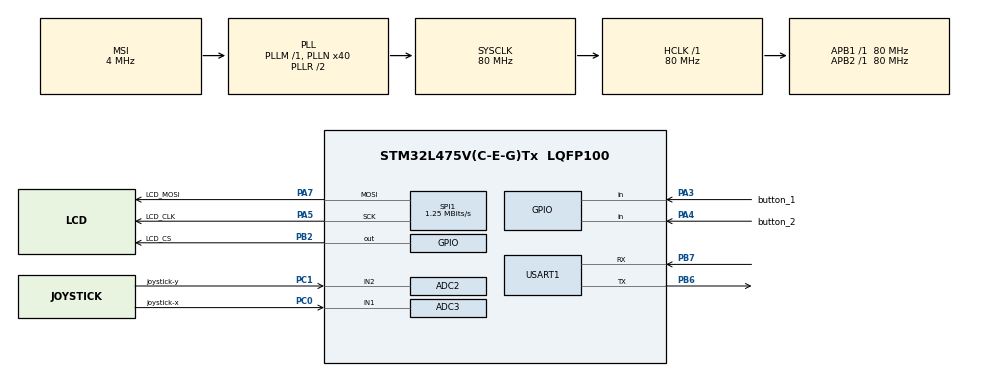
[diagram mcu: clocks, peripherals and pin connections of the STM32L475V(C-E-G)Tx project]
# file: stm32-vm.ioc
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ADC2.Channel-1\#ChannelRegularConversion=ADC_CHANNEL_2
ADC2.NbrOfConversionFlag=1
ADC2.OffsetNumber-1\#ChannelRegularConversion=ADC_OFFSET_NONE
ADC2.Rank-1\#ChannelRegularConversion=1
ADC2.SamplingTime-1\#ChannelRegularConversion=ADC_SAMPLETIME_2CYCLES_5
ADC3.Channel-1\#ChannelRegularConversion=ADC_CHANNEL_1
ADC3.NbrOfConversionFlag=1
ADC3.OffsetNumber-1\#ChannelRegularConversion=ADC_OFFSET_NONE
ADC3.Rank-1\#ChannelRegularConversion=1
ADC3.SamplingTime-1\#ChannelRegularConversion=ADC_SAMPLETIME_2CYCLES_5
Mcu.Family=STM32L4
Mcu.Name=STM32L475V(C-E-G)Tx
Mcu.Package=LQFP100
NVIC.PriorityGroup=NVIC_PRIORITYGROUP_4
NVIC.SPI1_IRQn=true\:0\:0\:false\:false\:true\:true\:true\:true
NVIC.USART1_IRQn=true\:0\:0\:false\:false\:true\:true\:true\:true
PA13\ (JTMS-SWDIO).Mode=Serial_Wire
PA13\ (JTMS-SWDIO).Signal=SYS_JTMS-SWDIO
PA14\ (JTCK-SWCLK).Mode=Serial_Wire
PA14\ (JTCK-SWCLK).Signal=SYS_JTCK-SWCLK
PA3.GPIO_Label=button_1
PA3.GPIO_PuPd=GPIO_PULLDOWN
PA3.Signal=GPIO_Input
PA4.GPIO_Label=button_2
PA4.GPIO_PuPd=GPIO_PULLDOWN
PA4.Signal=GPIO_Input
PA5.GPIO_Label=LCD_CLK
PA5.Mode=TX_Only_Simplex_Unidirect_Master
PA5.Signal=SPI1_SCK
PA7.GPIO_Label=LCD_MOSI
PA7.Mode=TX_Only_Simplex_Unidirect_Master
PA7.Signal=SPI1_MOSI
PB2.GPIO_Label=LCD_CS
PB2.GPIO_PuPd=GPIO_PULLDOWN
PB2.GPIO_Speed=GPIO_SPEED_FREQ_VERY_HIGH
PB2.Signal=GPIO_Output
PB6.Mode=Asynchronous
PB6.Signal=USART1_TX
PB7.Mode=Asynchronous
PB7.Signal=USART1_RX
PC0.GPIO_Label=joystick-x
PC0.Signal=ADCx_IN1
PC1.GPIO_Label=joystick-y
PC1.Signal=ADCx_IN2
PC14-OSC32_IN\ (PC14).Mode=LSE-External-Oscillator
PC14-OSC32_IN\ (PC14).Signal=RCC_OSC32_IN
PC15-OSC32_OUT\ (PC15).Mode=LSE-External-Oscillator
PC15-OSC32_OUT\ (PC15).Signal=RCC_OSC32_OUT
ProjectManager.HeapSize=0x200
ProjectManager.StackSize=0x400
ProjectManager.TargetToolchain=CMake
RCC.ADCFreq_Value=48000000
RCC.AHBFreq_Value=80000000
RCC.APB1Freq_Value=80000000
RCC.APB1TimFreq_Value=80000000
RCC.APB2Freq_Value=80000000
RCC.APB2TimFreq_Value=80000000
RCC.CortexFreq_Value=80000000
RCC.HCLKFreq_Value=80000000
RCC.HSE_VALUE=8000000
RCC.HSI_VALUE=16000000
RCC.MSI_VALUE=4000000
RCC.PLLN=40
RCC.PLLSAI1N=24
RCC.SYSCLKFreq_VALUE=80000000
RCC.SYSCLKSource=RCC_SYSCLKSOURCE_PLLCLK
RCC.USBFreq_Value=48000000
RCC.VCOOutputFreq_Value=160000000
SH.ADCx_IN1.0=ADC3_IN1,IN1-Single-Ended
SH.ADCx_IN2.0=ADC2_IN2,IN2-Single-Ended
SPI1.BaudRatePrescaler=SPI_BAUDRATEPRESCALER_64
SPI1.CLKPolarity=SPI_POLARITY_LOW
SPI1.CalculateBaudRate=1.25 MBits/s
SPI1.DataSize=SPI_DATASIZE_8BIT
SPI1.Direction=SPI_DIRECTION_2LINES
SPI1.Mode=SPI_MODE_MASTER
SPI1.NSSPMode=SPI_NSS_PULSE_DISABLE
SPI1.VirtualType=VM_MASTER
USART1.VirtualMode-Asynchronous=VM_ASYNC
board=B-L475E-IOT01A2

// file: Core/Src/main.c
/* USER CODE BEGIN Header */
/**
  ******************************************************************************
  * @file           : main.c
  * @brief          : Main program body
  ******************************************************************************
  * @attention
  *
  * Copyright (c) 2025 STMicroelectronics.
  * All rights reserved.
  *
  * This software is licensed under terms that can be found in the LICENSE file
  * in the root directory of this software component.
  * If no LICENSE file comes with this software, it is provided AS-IS.
  *
  ******************************************************************************
  */
/* USER CODE END Header */
#include "main.h"
#include "adc.h"
#include "spi.h"
#include "usart.h"
#include "gpio.h"

/* USER CODE BEGIN Includes */
#include "vm.h"
#include "printf_uart.h"
#include <stdio.h>
#include <string.h>

/* USER CODE END Includes */

/* USER CODE BEGIN PV */
uint8_t rx_byte;
const int cmd_buffer_size = 16;
char cmd_buffer[16];
int cmd_index = 0;

/* USER CODE END PV */

void SystemClock_Config(void);
void PeriphCommonClock_Config(void);
/* USER CODE BEGIN PFP */

// Runs for every byte that is received over uart
void HAL_UART_RxCpltCallback(UART_HandleTypeDef *huart){
    if(huart->Instance != USART1) return;

    if(rx_byte == '\n' || rx_byte == '\r'){ //Terminals send \r, \n or \r\n when hitting enter
        cmd_buffer[cmd_index] = '\0';
        // Setting flags instead of running functions directly to keep interrupts responsive
        if(strcmp(cmd_buffer, "run") == 0){
            vm_flags.run_program = 1;
        }
        else if(strcmp(cmd_buffer, "reg") == 0 ){
            vm_flags.print_reg = 1;
        }
        else if(strcmp(cmd_buffer, "step") == 0){
            vm_flags.step = 1;
        }
        else if(strcmp(cmd_buffer, "instr") == 0){
            vm_flags.print_program = 1;
        }
        else if(strcmp(cmd_buffer, "stack") == 0){
            vm_flags.print_stack = 1;
        }
        else if (strcmp(cmd_buffer, "load") == 0) {
            vm_flags.load = 1;
        }
        else if(strcmp(cmd_buffer, "log") == 0){
            const char* msg = (vm_enable_logs) ? "\r\nDisabling Logs" : "\r\nEnabling Logs\r\n";
            HAL_UART_Transmit_IT(&huart1, (uint8_t*)msg, strlen(msg));
            vm_enable_logs ^= 1;
        }
        else if(strcmp(cmd_buffer, "help") == 0){
            vm_flags.print_help= 1;
        }
        else{
            vm_flags.print_unknown = 1;
        }
        memset(cmd_buffer, 0, cmd_buffer_size);
        cmd_index = 0;
    }
    else if(rx_byte == 0x7F || rx_byte == '\b'){ //backspace
        if(cmd_index > 0){
            cmd_buffer[--cmd_index] = '\0';
            HAL_UART_Transmit(&huart1, (uint8_t*)"\b \b", 3, HAL_MAX_DELAY);//move cursor back once, overwrite, move back again
        }
        else{
            cmd_index = 0;
        }
    }
    else{
        if(cmd_index < cmd_buffer_size){
            cmd_buffer[cmd_index++] = rx_byte;
        }
        else{
            memset(cmd_buffer, 0, cmd_buffer_size);
            cmd_index = 0;
        }
        HAL_UART_Transmit(&huart1, &rx_byte, 1, HAL_MAX_DELAY);
    }
    HAL_UART_Receive_IT(&huart1, &rx_byte, 1);
}
// void HAL_UART_TxCpltCallback(UART_HandleTypeDef *huart) {}
//
/* USER CODE END PFP */

int main(void)
{

  /* MCU Configuration--------------------------------------------------------*/

  /* Reset of all peripherals, Initializes the Flash interface and the Systick. */
  HAL_Init();

  /* USER CODE BEGIN Init */
  vm_init();
  /* USER CODE END Init */

  /* Configure the system clock */
  SystemClock_Config();

  /* Configure the peripherals common clocks */
  PeriphCommonClock_Config();

  /* Initialize all configured peripherals */
  MX_GPIO_Init();
  MX_USART1_UART_Init();
  MX_SPI1_Init();
  MX_ADC3_Init();
  MX_ADC2_Init();
  /* USER CODE BEGIN 2 */
  HAL_UART_Receive_IT(&huart1, &rx_byte, 1);

  /* USER CODE END 2 */

  /* Infinite loop */
  /* USER CODE BEGIN WHILE */

  while (1)
  {
      if(vm_flags.run_program){
          printf("\tRunning program...\r\n");
          while(vm_run_instruction()){}
          printf("Done\r\n");
          vm_flags.run_program = 0;
          pc = 0;
      }

      else{
          if(vm_flags.load){
            printf("\tSend program size (max %d):\r\n", PROGRAM_SIZE_BYTES);

            HAL_UART_AbortReceive(&huart1);

            uint16_t size = 0;

            // receive 2-byte size (little endian)
            uint8_t size_buf[2];

            HAL_UART_Receive(&huart1, size_buf, 2, HAL_MAX_DELAY);

            size = size_buf[0] | (size_buf[1] << 8);

            while (size > PROGRAM_SIZE_BYTES) {
                printf("Program size %u too large. Send again:\r\n", size);
                HAL_UART_Receive(&huart1, size_buf, 2, HAL_MAX_DELAY);
                size = size_buf[0] | (size_buf[1] << 8);
            }

            printf("Waiting for %u bytes...\r\n", size);
            HAL_UART_Receive(&huart1, (uint8_t *)program, size, HAL_MAX_DELAY);
            printf("Program loaded!\r\n");

            HAL_UART_Receive_IT(&huart1, &rx_byte, 1);

            memset(cmd_buffer, 0, cmd_buffer_size);
            cmd_index = 0;
            vm_flags.load = 0;
            vm_init();
            pc = 0;
          }

          if(vm_flags.print_reg) {
              printf("\r\n");
              for (int i = 0; i < 8; i++){
                  printf("R%02d: %05d\t", i, reg[i]);
              }
              printf("\r\n");
              for (int i = 8; i < NUM_REGISTERS; i++){
                  printf("R%02d: %05d\t", i, reg[i]);
              }
              printf("\r\n");
              vm_flags.print_reg = 0;
          }

          if(vm_flags.step) {
              vm_run_instruction();
              vm_flags.step = 0;
          }

          if(vm_flags.print_stack) {
              printf("\ttop | ");
              for(int i = 0; i < pix_sp; i++){
                  printf("(%d,%d) ", pix_stack[i].x, pix_stack[i].y);
              }
              printf(" | bottom\r\n");
              vm_flags.print_stack = 0;
          }

          if(vm_flags.print_program){
              uint16_t word;
              int i = 0;
              do{
                  word = program[pc + i];
                  printf("%04X ", word);
                  i++;
              } while(word != OP_HALT && i < 16);
              vm_flags.print_program = 0;
          }
          if(vm_flags.print_help) {
              printf( "\r\nCommands:\r\n run\r\n step\r\n run\r\n instr\r\n stack\r\n log\r\n load\r\n help\r\n");
              vm_flags.print_help = 0;
          }
          if(vm_flags.print_unknown){
              printf("\r\nUnknown Command\r\n");
              vm_flags.print_unknown = 0;
          }
      }

    /* USER CODE END WHILE */

  }
}

void SystemClock_Config(void)
{
  RCC_OscInitTypeDef RCC_OscInitStruct = {0};
  RCC_ClkInitTypeDef RCC_ClkInitStruct = {0};

  /** Configure the main internal regulator output voltage
  */
  if (HAL_PWREx_ControlVoltageScaling(PWR_REGULATOR_VOLTAGE_SCALE1) != HAL_OK)
  {
    Error_Handler();
  }

  /** Configure LSE Drive Capability
  */
  HAL_PWR_EnableBkUpAccess();
  __HAL_RCC_LSEDRIVE_CONFIG(RCC_LSEDRIVE_LOW);

  /** Initializes the RCC Oscillators according to the specified parameters
  * in the RCC_OscInitTypeDef structure.
  */
  RCC_OscInitStruct.OscillatorType = RCC_OSCILLATORTYPE_LSE|RCC_OSCILLATORTYPE_MSI;
  RCC_OscInitStruct.LSEState = RCC_LSE_ON;
  RCC_OscInitStruct.MSIState = RCC_MSI_ON;
  RCC_OscInitStruct.MSICalibrationValue = 0;
  RCC_OscInitStruct.MSIClockRange = RCC_MSIRANGE_6;
  RCC_OscInitStruct.PLL.PLLState = RCC_PLL_ON;
  RCC_OscInitStruct.PLL.PLLSource = RCC_PLLSOURCE_MSI;
  RCC_OscInitStruct.PLL.PLLM = 1;
  RCC_OscInitStruct.PLL.PLLN = 40;
  RCC_OscInitStruct.PLL.PLLP = RCC_PLLP_DIV7;
  RCC_OscInitStruct.PLL.PLLQ = RCC_PLLQ_DIV2;
  RCC_OscInitStruct.PLL.PLLR = RCC_PLLR_DIV2;
  if (HAL_RCC_OscConfig(&RCC_OscInitStruct) != HAL_OK)
  {
    Error_Handler();
  }

  /** Initializes the CPU, AHB and APB buses clocks
  */
  RCC_ClkInitStruct.ClockType = RCC_CLOCKTYPE_HCLK|RCC_CLOCKTYPE_SYSCLK
                              |RCC_CLOCKTYPE_PCLK1|RCC_CLOCKTYPE_PCLK2;
  RCC_ClkInitStruct.SYSCLKSource = RCC_SYSCLKSOURCE_PLLCLK;
  RCC_ClkInitStruct.AHBCLKDivider = RCC_SYSCLK_DIV1;
  RCC_ClkInitStruct.APB1CLKDivider = RCC_HCLK_DIV1;
  RCC_ClkInitStruct.APB2CLKDivider = RCC_HCLK_DIV1;

  if (HAL_RCC_ClockConfig(&RCC_ClkInitStruct, FLASH_LATENCY_4) != HAL_OK)
  {
    Error_Handler();
  }

  /** Enable MSI Auto calibration
  */
  HAL_RCCEx_EnableMSIPLLMode();
}

void PeriphCommonClock_Config(void)
{
  RCC_PeriphCLKInitTypeDef PeriphClkInit = {0};

  /** Initializes the peripherals clock
  */
  PeriphClkInit.PeriphClockSelection = RCC_PERIPHCLK_ADC;
  PeriphClkInit.AdcClockSelection = RCC_ADCCLKSOURCE_PLLSAI1;
  PeriphClkInit.PLLSAI1.PLLSAI1Source = RCC_PLLSOURCE_MSI;
  PeriphClkInit.PLLSAI1.PLLSAI1M = 1;
  PeriphClkInit.PLLSAI1.PLLSAI1N = 24;
  PeriphClkInit.PLLSAI1.PLLSAI1P = RCC_PLLP_DIV7;
  PeriphClkInit.PLLSAI1.PLLSAI1Q = RCC_PLLQ_DIV2;
  PeriphClkInit.PLLSAI1.PLLSAI1R = RCC_PLLR_DIV2;
  PeriphClkInit.PLLSAI1.PLLSAI1ClockOut = RCC_PLLSAI1_ADC1CLK;
  if (HAL_RCCEx_PeriphCLKConfig(&PeriphClkInit) != HAL_OK)
  {
    Error_Handler();
  }
}

void Error_Handler(void)
{
  __disable_irq();
  while (1)
  {
  }
}
